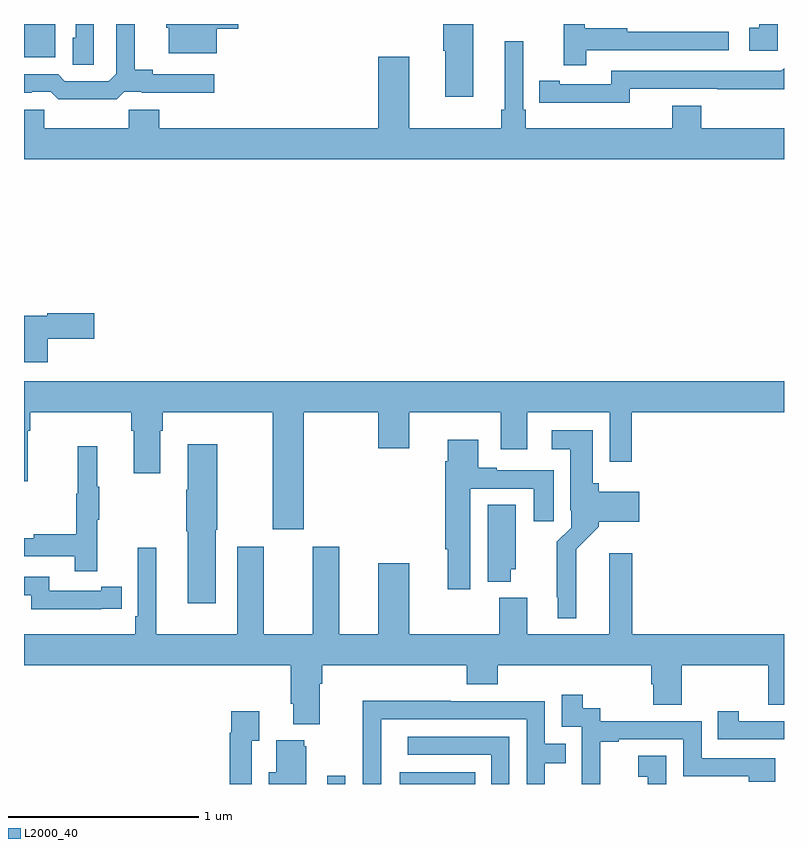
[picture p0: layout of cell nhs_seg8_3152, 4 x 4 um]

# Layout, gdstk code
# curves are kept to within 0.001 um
import gdstk
lib = gdstk.Library(unit=1e-6, precision=1e-09)
def R(c, l, rs):  # rectangles x0, y0, x1, y1
    for r in rs: c.add(gdstk.rectangle(r[:2], r[2:], *l))
def P(c, l, *ps):  # polygons
    for p in ps: c.add(gdstk.Polygon(p, *l))
L2000_40 = (2000, 40)

nhs_seg8_3152 = lib.new_cell('nhs_seg8_3152')
R(nhs_seg8_3152, L2000_40, [(308.595,1091.9,308.691,1091.944), (308.978,1091.9,309.374,1091.962), (307,1095.725,307.165,1095.9)])
P(nhs_seg8_3152, L2000_40, [(309.959,1095.762),(310.708,1095.762),(310.708,1095.858),(310.175,1095.858),(310.175,1095.878),(309.952,1095.878),(309.952,1095.9),(309.842,1095.9),(309.842,1095.684),(309.959,1095.684)],
  [(310.968,1095.9),(310.871,1095.9),(310.871,1095.879),(310.818,1095.879),(310.818,1095.759),(310.968,1095.759)],
  [(309.364,1095.9),(309.206,1095.9),(309.206,1095.759),(309.218,1095.759),(309.218,1095.516),(309.364,1095.516)],
  [(308.014,1095.875),(308.128,1095.875),(308.128,1095.9),(307.748,1095.9),(307.748,1095.879),(307.763,1095.879),(307.763,1095.746),(308.014,1095.746)],
  [(307.368,1095.9),(307.272,1095.9),(307.272,1095.828),(307.256,1095.828),(307.256,1095.685),(307.368,1095.685)],
  [(307.527,1095.543),(307.621,1095.543),(307.621,1095.539),(308.002,1095.539),(308.002,1095.636),(307.678,1095.636),(307.678,1095.659),(307.582,1095.659),(307.582,1095.9),(307.485,1095.9),(307.485,1095.639),(307.446,1095.6),(307.215,1095.6),(307.179,1095.636),(307,1095.636),(307,1095.539),(307.04,1095.539),(307.04,1095.543),(307.14,1095.543),(307.18,1095.504),(307.487,1095.504)],
  [(311,1095.352),(310.565,1095.352),(310.565,1095.469),(310.412,1095.469),(310.412,1095.352),(309.641,1095.352),(309.641,1095.448),(309.627,1095.448),(309.627,1095.808),(309.53,1095.808),(309.53,1095.448),(309.511,1095.448),(309.511,1095.352),(309.028,1095.352),(309.028,1095.727),(308.864,1095.727),(308.864,1095.352),(307.712,1095.352),(307.712,1095.45),(307.552,1095.45),(307.552,1095.352),(307.107,1095.352),(307.107,1095.45),(307,1095.45),(307,1095.188),(311,1095.188)],
  [(310.188,1095.558),(311,1095.557),(311,1095.668),(310.986,1095.654),(310.092,1095.654),(310.092,1095.582),(309.82,1095.582),(309.82,1095.602),(309.712,1095.602),(309.712,1095.486),(310.188,1095.485)],
  [(307.126,1094.243),(307.369,1094.243),(307.369,1094.378),(307.122,1094.378),(307.122,1094.365),(307,1094.365),(307,1094.12),(307.126,1094.12)],
  [(308.473,1093.856),(308.864,1093.856),(308.864,1093.668),(309.028,1093.668),(309.028,1093.856),(309.509,1093.856),(309.509,1093.662),(309.649,1093.662),(309.649,1093.856),(310.083,1093.856),(310.083,1093.596),(310.199,1093.596),(310.199,1093.856),(311,1093.856),(311,1094.02),(307,1094.02),(307,1093.494),(307.021,1093.494),(307.021,1093.76),(307.034,1093.76),(307.034,1093.856),(307.565,1093.856),(307.565,1093.76),(307.577,1093.76),(307.577,1093.536),(307.717,1093.536),(307.717,1093.76),(307.73,1093.76),(307.73,1093.856),(308.309,1093.856),(308.309,1093.242),(308.473,1093.242)],
  [(309.907,1093.136),(310.025,1093.254),(310.025,1093.28),(310.237,1093.28),(310.237,1093.438),(310.025,1093.438),(310.025,1093.482),(309.994,1093.482),(309.994,1093.762),(309.777,1093.762),(309.777,1093.661),(309.875,1093.661),(309.875,1093.342),(309.879,1093.342),(309.879,1093.248),(309.805,1093.174),(309.805,1092.883),(309.809,1092.883),(309.809,1092.773),(309.907,1092.773)],
  [(309.349,1093.455),(309.683,1093.455),(309.683,1093.284),(309.787,1093.284),(309.787,1093.551),(309.487,1093.551),(309.487,1093.564),(309.391,1093.564),(309.391,1093.711),(309.23,1093.711),(309.23,1093.598),(309.218,1093.598),(309.218,1093.136),(309.23,1093.136),(309.23,1092.924),(309.349,1092.924)],
  [(308.008,1093.237),(308.016,1093.237),(308.016,1093.687),(307.862,1093.687),(307.862,1093.448),(307.855,1093.448),(307.855,1093.231),(307.862,1093.231),(307.862,1092.852),(308.008,1092.852)],
  [(307.385,1093.291),(307.396,1093.291),(307.396,1093.465),(307.385,1093.465),(307.385,1093.678),(307.282,1093.678),(307.282,1093.428),(307.275,1093.428),(307.275,1093.214),(307.051,1093.214),(307.051,1093.194),(307,1093.194),(307,1093.098),(307.267,1093.098),(307.267,1093.02),(307.385,1093.02)],
  [(309.562,1093.029),(309.589,1093.029),(309.589,1093.37),(309.44,1093.37),(309.44,1092.965),(309.562,1092.965)],
  [(308.557,1092.428),(308.57,1092.428),(308.57,1092.524),(309.329,1092.524),(309.329,1092.425),(309.494,1092.425),(309.494,1092.524),(310.301,1092.524),(310.301,1092.426),(310.313,1092.426),(310.313,1092.316),(310.461,1092.316),(310.461,1092.524),(310.918,1092.524),(310.918,1092.316),(311,1092.316),(311,1092.688),(310.202,1092.688),(310.202,1093.114),(310.079,1093.114),(310.079,1092.688),(309.649,1092.688),(309.649,1092.88),(309.502,1092.88),(309.502,1092.688),(309.028,1092.688),(309.028,1093.063),(308.864,1093.063),(308.864,1092.688),(308.659,1092.688),(308.659,1093.15),(308.519,1093.15),(308.519,1092.688),(308.263,1092.688),(308.263,1093.15),(308.123,1093.15),(308.123,1092.688),(307.696,1092.688),(307.696,1093.144),(307.599,1093.144),(307.599,1092.784),(307.586,1092.784),(307.586,1092.688),(307,1092.688),(307,1092.524),(308.405,1092.524),(308.405,1092.322),(308.417,1092.322),(308.417,1092.215),(308.557,1092.215)],
  [(307.406,1092.822),(307.514,1092.822),(307.514,1092.938),(307.406,1092.938),(307.406,1092.918),(307.134,1092.918),(307.134,1092.99),(307,1092.99),(307,1092.894),(307.038,1092.894),(307.038,1092.821),(307.406,1092.821)],
  [(310.034,1092.123),(310.129,1092.123),(310.129,1092.135),(310.47,1092.135),(310.47,1091.94),(310.815,1091.94),(310.815,1091.913),(310.955,1091.913),(310.955,1092.036),(310.566,1092.036),(310.566,1092.231),(310.032,1092.231),(310.032,1092.3),(309.94,1092.3),(309.94,1092.37),(309.831,1092.37),(309.831,1092.201),(309.936,1092.201),(309.936,1091.972),(309.935,1091.972),(309.935,1091.9),(310.034,1091.9)],
  [(308.88,1091.986),(308.881,1091.986),(308.881,1092.24),(309.645,1092.24),(309.645,1091.9),(309.741,1091.9),(309.741,1092.01),(309.851,1092.01),(309.851,1092.111),(309.741,1092.111),(309.741,1092.336),(309.245,1092.336),(309.245,1092.338),(308.782,1092.338),(308.782,1092.031),(308.784,1092.031),(308.784,1091.9),(308.88,1091.9)],
  [(308.199,1092.127),(308.239,1092.127),(308.239,1092.283),(308.091,1092.283),(308.091,1092.17),(308.083,1092.17),(308.083,1091.9),(308.199,1091.9)],
  [(311,1092.231),(310.762,1092.231),(310.762,1092.283),(310.651,1092.283),(310.651,1092.135),(311,1092.135)],
  [(309.555,1092.15),(309.021,1092.15),(309.021,1092.054),(309.459,1092.054),(309.459,1091.9),(309.555,1091.9)],
  [(308.485,1092.099),(308.474,1092.099),(308.474,1092.13),(308.327,1092.13),(308.327,1091.962),(308.288,1091.962),(308.288,1091.9),(308.485,1091.9)],
  [(310.38,1092.049),(310.233,1092.049),(310.233,1091.939),(310.282,1091.939),(310.282,1091.9),(310.38,1091.9)])

lib.write_gds('nhs_seg8_3152.gds')
